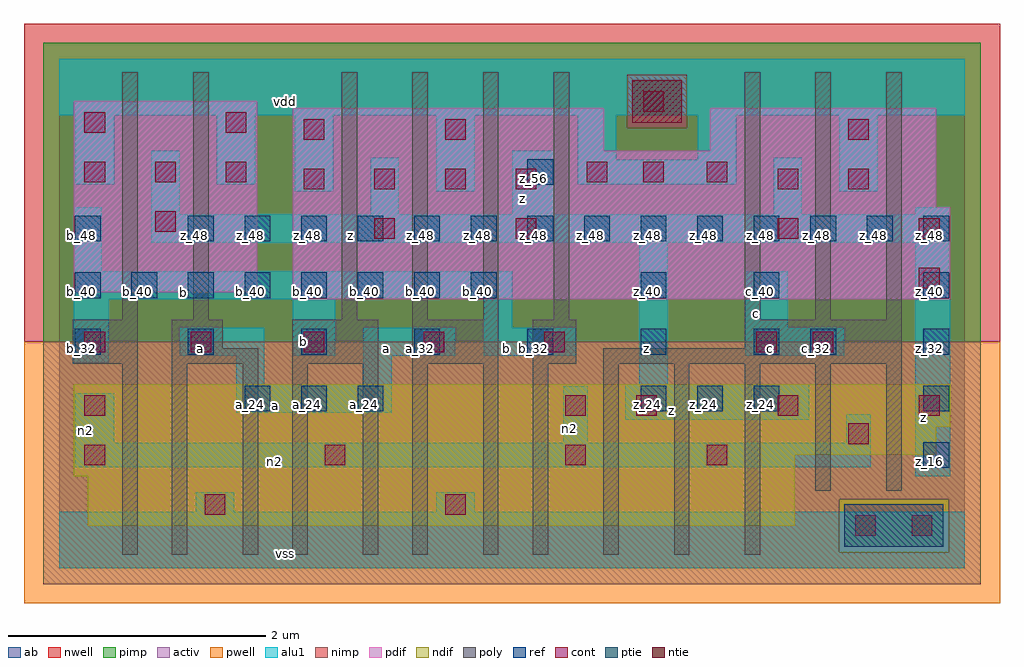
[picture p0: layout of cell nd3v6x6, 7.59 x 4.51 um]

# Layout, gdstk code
import gdstk
lib = gdstk.Library(unit=1e-6, precision=2.5e-09)
def R(c, l, rs):  # rectangles x0, y0, x1, y1
    for r in rs: c.add(gdstk.rectangle(r[:2], r[2:], *l))
def A(c, l, x, y, w, h, nx, ny, dx, dy):  # array of equal rectangles
    R(c, l, [(x+i*dx, y+j*dy, x+i*dx+w, y+j*dy+h) for i in range(nx) for j in range(ny)])
ndif = (3, 0)
pdif = (4, 0)
ntie = (5, 0)
ptie = (6, 0)
ref = (24, 0)
cont = (25, 0)
pwell = (41, 0)
nwell = (42, 0)
activ = (43, 0)
pimp = (44, 0)
nimp = (45, 0)
poly = (46, 0)
alu1 = (49, 0)
ab = (63, 0)

nd3v6x6 = lib.new_cell('nd3v6x6')
R(nd3v6x6, ndif, [(0.22,0.33,5.72,0.715), (0.11,0.715,5.72,0.88), (0.11,0.88,6.82,1.1), (0.11,1.1,6.93,1.43)])
R(nd3v6x6, pdif, [(1.815,2.09,6.93,2.805), (0.11,2.145,1.54,3.63), (1.815,2.805,6.82,3.245), (1.815,3.245,4.235,3.575), (5.06,3.245,6.82,3.575)])
R(nd3v6x6, ntie, [(4.455,3.465,4.84,3.795)])
R(nd3v6x6, ptie, [(6.105,0.165,6.875,0.495)])
A(nd3v6x6, ref, 6.72, 0.78, 0.2, 0.2, 1, 4, 0, 0.44)
A(nd3v6x6, ref, 1.44, 1.22, 0.2, 0.2, 3, 1, 0.44, 0)
A(nd3v6x6, ref, 4.52, 1.22, 0.2, 0.2, 3, 1, 0.44, 0)
A(nd3v6x6, ref, 0.12, 1.66, 0.2, 0.2, 7, 1, 0.88, 0)
A(nd3v6x6, ref, 0.12, 2.1, 0.2, 0.2, 8, 1, 0.44, 0)
A(nd3v6x6, ref, 1, 2.54, 0.2, 0.2, 14, 1, 0.44, 0)
R(nd3v6x6, ref, [(5.84,1.66,6.04,1.86), (4.52,2.1,4.72,2.3), (5.4,2.1,5.6,2.3), (0.12,2.54,0.32,2.74), (3.64,2.98,3.84,3.18)])
A(nd3v6x6, cont, 0.195, 0.8, 0.16, 0.16, 3, 1, 1.87, 0)
A(nd3v6x6, cont, 4.485, 1.185, 0.16, 0.16, 3, 1, 1.1, 0)
A(nd3v6x6, cont, 1.9, 1.68, 0.16, 0.16, 3, 1, 0.935, 0)
A(nd3v6x6, cont, 1.9, 2.945, 0.16, 0.16, 4, 1, 0.55, 0)
A(nd3v6x6, cont, 0.195, 3, 0.16, 0.16, 3, 1, 0.55, 0)
R(nd3v6x6, cont, [(6.19,0.25,6.35,0.41), (6.63,0.25,6.79,0.41), (1.13,0.415,1.29,0.575), (3,0.415,3.16,0.575), (5.035,0.8,5.195,0.96), (6.135,0.965,6.295,1.125), (0.195,1.185,0.355,1.345), (3.935,1.185,4.095,1.345), (0.195,1.68,0.355,1.84), (1.02,1.68,1.18,1.84), (5.42,1.68,5.58,1.84), (5.86,1.68,6.02,1.84), (6.685,2.175,6.845,2.335), (2.45,2.56,2.61,2.72), (3.55,2.56,3.71,2.72), (5.585,2.56,5.745,2.72), (6.685,2.56,6.845,2.72), (0.745,2.615,0.905,2.775), (5.585,2.945,5.745,3.105), (6.135,2.945,6.295,3.105), (4.1,3,4.26,3.16), (4.54,3,4.7,3.16), (5.035,3,5.195,3.16), (1.9,3.33,2.06,3.49), (3,3.33,3.16,3.49), (6.135,3.33,6.295,3.49), (0.195,3.385,0.355,3.545), (1.295,3.385,1.455,3.545), (4.54,3.55,4.7,3.71)])
R(nd3v6x6, pwell, [(-0.275,-0.275,7.315,1.76)])
R(nd3v6x6, nwell, [(-0.275,1.76,7.315,4.235)])
R(nd3v6x6, activ, [(6.105,0.165,6.875,0.495), (0.22,0.33,5.72,0.715), (0.11,0.715,5.72,0.88), (0.11,0.88,6.82,1.1), (0.11,1.1,6.93,1.43), (1.815,2.09,6.93,2.805), (0.11,2.145,1.54,3.63), (1.815,2.805,6.82,3.245), (1.815,3.245,4.235,3.575), (5.06,3.245,6.82,3.575), (4.455,3.465,4.84,3.795)])
R(nd3v6x6, pimp, [(6.065,0.125,6.915,0.535), (-0.125,1.76,7.165,3.425), (-0.125,3.425,4.415,3.835), (4.88,3.425,7.165,3.835), (-0.125,3.835,7.165,4.085)])
R(nd3v6x6, nimp, [(-0.125,-0.125,7.165,0.125), (-0.125,0.125,6.065,0.535), (6.915,0.125,7.165,0.535), (-0.125,0.535,7.165,1.76), (4.415,3.425,4.88,3.835)])
A(nd3v6x6, poly, 3.68, 0.105, 0.12, 1.485, 4, 1, 0.55, 0)
A(nd3v6x6, poly, 2.195, 1.93, 0.12, 1.925, 4, 1, 0.55, 0)
A(nd3v6x6, poly, 5.33, 1.93, 0.12, 1.925, 3, 1, 0.55, 0)
R(nd3v6x6, poly, [(0.49,0.105,0.61,1.59), (0.875,0.105,0.995,1.59), (1.425,0.105,1.545,1.59), (1.81,0.105,1.93,1.59), (2.36,0.105,2.48,1.59), (2.745,0.105,2.865,1.59), (3.295,0.105,3.415,1.59), (5.88,0.6,6,1.59), (6.43,0.6,6.55,1.59), (0.105,1.59,0.61,1.93), (0.875,1.59,1.545,1.71), (1.81,1.59,2.48,1.93), (2.745,1.59,3.415,1.93), (3.68,1.59,4.02,1.93), (4.23,1.59,6.55,1.71), (0.875,1.71,1.27,1.93), (5.33,1.71,6.55,1.93), (0.49,1.93,0.61,3.855), (1.04,1.93,1.16,3.855)])
R(nd3v6x6, alu1, [(0,0,7.04,0.44), (1.06,0.44,1.36,0.59), (2.93,0.44,3.23,0.59), (6.655,0.715,6.93,2.53), (0.125,0.785,6.31,0.975), (0.125,0.975,0.425,1.36), (3.92,0.975,4.11,1.415), (6.12,0.975,6.31,1.195), (4.4,1.155,5.83,1.43), (1.375,1.21,2.585,1.43), (1.375,1.43,1.595,1.65), (2.365,1.43,2.585,1.65), (4.51,1.43,4.73,2.53), (0.11,1.595,0.385,2.09), (0.935,1.65,1.595,1.87), (1.815,1.65,2.145,2.09), (2.365,1.65,3.08,1.87), (3.3,1.65,4.015,1.87), (5.335,1.65,6.105,1.87), (3.3,1.87,3.52,2.09), (5.335,1.87,5.665,2.31), (0.11,2.09,3.52,2.31), (0.11,2.31,0.33,2.805), (0.715,2.53,6.93,2.75), (0.715,2.75,0.935,3.245), (2.42,2.75,2.64,3.19), (3.52,2.75,3.85,3.245), (5.555,2.75,5.775,3.19), (6.655,2.75,6.93,2.805), (1.83,2.93,2.13,3.52), (2.93,2.93,3.23,3.52), (6.065,2.93,6.365,3.52), (0.125,2.985,0.425,3.52), (1.225,2.985,1.525,3.52), (4.03,2.985,5.265,3.175), (4.03,3.175,4.33,3.52), (4.965,3.175,5.265,3.52), (0,3.52,7.04,3.96)])
R(nd3v6x6, ab, [(0,0,7.04,3.96)])
nd3v6x6.add(gdstk.Label('vss', (1.76,0.11), layer=49, texttype=0))
nd3v6x6.add(gdstk.Label('z', (6.7225,1.1675), layer=49, texttype=0))
nd3v6x6.add(gdstk.Label('n2', (1.67,0.8325), layer=49, texttype=0))
nd3v6x6.add(gdstk.Label('z', (4.7575,1.2225), layer=49, texttype=0))
nd3v6x6.add(gdstk.Label('n2', (3.9675,1.085), layer=49, texttype=0))
nd3v6x6.add(gdstk.Label('a', (1.6775,1.265), layer=49, texttype=0))
nd3v6x6.add(gdstk.Label('n2', (0.2,1.07), layer=49, texttype=0))
nd3v6x6.add(gdstk.Label('c', (5.5275,1.705), layer=49, texttype=0))
nd3v6x6.add(gdstk.Label('c', (5.4175,1.98), layer=49, texttype=0))
nd3v6x6.add(gdstk.Label('z', (4.565,1.705), layer=49, texttype=0))
nd3v6x6.add(gdstk.Label('b', (3.4775,1.705), layer=49, texttype=0))
nd3v6x6.add(gdstk.Label('a', (2.5425,1.705), layer=49, texttype=0))
nd3v6x6.add(gdstk.Label('b', (1.8975,1.76), layer=49, texttype=0))
nd3v6x6.add(gdstk.Label('a', (1.1,1.705), layer=49, texttype=0))
nd3v6x6.add(gdstk.Label('b', (0.9625,2.145), layer=49, texttype=0))
nd3v6x6.add(gdstk.Label('z', (2.2675,2.585), layer=49, texttype=0))
nd3v6x6.add(gdstk.Label('z', (3.6025,2.8725), layer=49, texttype=0))
nd3v6x6.add(gdstk.Label('vdd', (1.76,3.63), layer=49, texttype=0))
nd3v6x6.add(gdstk.Label('z_16', (6.77,0.83), layer=24, texttype=0))
nd3v6x6.add(gdstk.Label('z_56', (3.69,3.03), layer=24, texttype=0))
nd3v6x6.add(gdstk.Label('z_48', (5.89,2.59), layer=24, texttype=0))
nd3v6x6.add(gdstk.Label('z_48', (5.45,2.59), layer=24, texttype=0))
nd3v6x6.add(gdstk.Label('z_48', (5.01,2.59), layer=24, texttype=0))
nd3v6x6.add(gdstk.Label('z_48', (4.57,2.59), layer=24, texttype=0))
nd3v6x6.add(gdstk.Label('z_48', (3.69,2.59), layer=24, texttype=0))
nd3v6x6.add(gdstk.Label('z_48', (3.25,2.59), layer=24, texttype=0))
nd3v6x6.add(gdstk.Label('z_48', (2.81,2.59), layer=24, texttype=0))
nd3v6x6.add(gdstk.Label('z_48', (2.37,2.59), layer=24, texttype=0))
nd3v6x6.add(gdstk.Label('z_48', (1.93,2.59), layer=24, texttype=0))
nd3v6x6.add(gdstk.Label('z_48', (1.49,2.59), layer=24, texttype=0))
nd3v6x6.add(gdstk.Label('b_40', (0.61,2.15), layer=24, texttype=0))
nd3v6x6.add(gdstk.Label('b_40', (1.05,2.15), layer=24, texttype=0))
nd3v6x6.add(gdstk.Label('b_40', (1.49,2.15), layer=24, texttype=0))
nd3v6x6.add(gdstk.Label('b_40', (1.93,2.15), layer=24, texttype=0))
nd3v6x6.add(gdstk.Label('b_40', (2.37,2.15), layer=24, texttype=0))
nd3v6x6.add(gdstk.Label('b_40', (2.81,2.15), layer=24, texttype=0))
nd3v6x6.add(gdstk.Label('a_24', (1.49,1.27), layer=24, texttype=0))
nd3v6x6.add(gdstk.Label('a_24', (1.93,1.27), layer=24, texttype=0))
nd3v6x6.add(gdstk.Label('a_24', (2.37,1.27), layer=24, texttype=0))
nd3v6x6.add(gdstk.Label('b_48', (0.17,2.59), layer=24, texttype=0))
nd3v6x6.add(gdstk.Label('b_40', (0.17,2.15), layer=24, texttype=0))
nd3v6x6.add(gdstk.Label('b_40', (3.25,2.15), layer=24, texttype=0))
nd3v6x6.add(gdstk.Label('b_32', (3.69,1.71), layer=24, texttype=0))
nd3v6x6.add(gdstk.Label('b_32', (0.17,1.71), layer=24, texttype=0))
nd3v6x6.add(gdstk.Label('a_32', (2.81,1.71), layer=24, texttype=0))
nd3v6x6.add(gdstk.Label('b_32', (1.93,1.71), layer=24, texttype=0))
nd3v6x6.add(gdstk.Label('z_48', (1.05,2.59), layer=24, texttype=0))
nd3v6x6.add(gdstk.Label('z_32', (4.57,1.71), layer=24, texttype=0))
nd3v6x6.add(gdstk.Label('z_24', (4.57,1.27), layer=24, texttype=0))
nd3v6x6.add(gdstk.Label('z_24', (5.01,1.27), layer=24, texttype=0))
nd3v6x6.add(gdstk.Label('z_24', (5.45,1.27), layer=24, texttype=0))
nd3v6x6.add(gdstk.Label('z_48', (6.77,2.59), layer=24, texttype=0))
nd3v6x6.add(gdstk.Label('c_40', (5.45,2.15), layer=24, texttype=0))
nd3v6x6.add(gdstk.Label('z_40', (6.77,2.15), layer=24, texttype=0))
nd3v6x6.add(gdstk.Label('c_32', (5.89,1.71), layer=24, texttype=0))
nd3v6x6.add(gdstk.Label('z_32', (6.77,1.71), layer=24, texttype=0))
nd3v6x6.add(gdstk.Label('c_32', (5.45,1.71), layer=24, texttype=0))
nd3v6x6.add(gdstk.Label('z_40', (4.57,2.15), layer=24, texttype=0))
nd3v6x6.add(gdstk.Label('z_48', (4.13,2.59), layer=24, texttype=0))
nd3v6x6.add(gdstk.Label('a_32', (1.05,1.71), layer=24, texttype=0))
nd3v6x6.add(gdstk.Label('z_48', (6.33,2.59), layer=24, texttype=0))
nd3v6x6.add(gdstk.Label('z_24', (6.77,1.27), layer=24, texttype=0))

lib.write_gds('nd3v6x6.gds')
